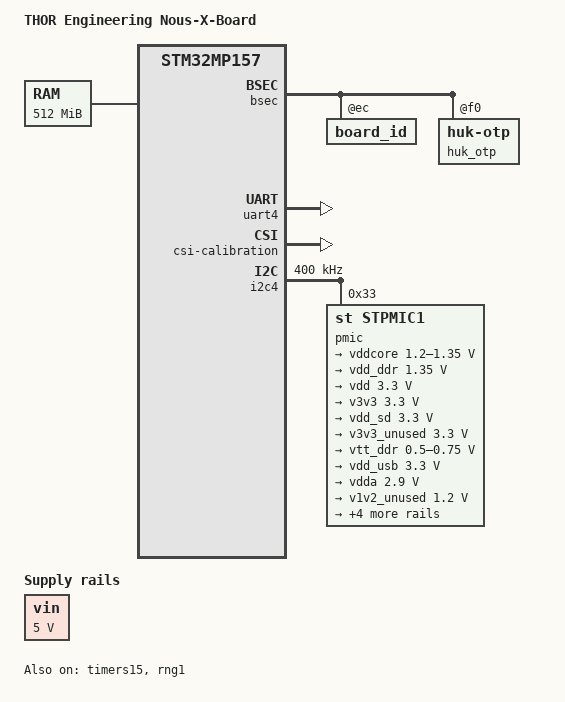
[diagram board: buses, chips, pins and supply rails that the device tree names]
// SPDX-License-Identifier: (GPL-2.0+ OR BSD-3-Clause)
/*
 * Copyright (C) THOR Engineering GmbH 2026
 *
 * Author: Roy Schneider <roy@thor.engineering> for THOR Engineering GmbH.
 *
 * Device Tree File for the THOR-E2 board for the OPTEE.
 */
 
/dts-v1/;

#include <dt-bindings/pinctrl/stm32-pinfunc.h>
#include <dt-bindings/clock/stm32mp1-clksrc.h>

#include "stm32mp157.dtsi"
#include "stm32mp15xa.dtsi"
#include "stm32mp15xxac-pinctrl.dtsi"

#include <dt-bindings/gpio/gpio.h>
#include <dt-bindings/power/stm32mp1-power.h>
#include <dt-bindings/mfd/st,stpmic1.h>
#include <dt-bindings/soc/stm32mp-provisioning.h>
#include <dt-bindings/tamper/st,stm32-tamp.h>

#include "stm32mp15-pinctrl.dtsi"

/* Board description */

/ {
	model = "THOR Engineering Nous-X-Board";
	compatible = "st,stm32mp157a-nous", "st,stm32mp157";

	aliases {
		serial0 = &uart4;
	};

	/* Standard serial console output. */

	chosen {
		stdout-path = "serial0:115200n8";
	};

	memory@c0000000 {
		device_type = "memory";
		reg = <0xc0000000 0x20000000>;
	};

	reserved-memory {
		#address-cells = <1>;
		#size-cells = <1>;
		ranges;

		mcusram1: mcuram1@10000000 {
			compatible = "shared-dma-pool";
			reg = <0x10000000 0x20000>;
			no-map;
		};

		mcusram2: mcuram2@10020000 {
			compatible = "shared-dma-pool";
			reg = <0x10020000 0x20000>;
			no-map;
		};

		mcusram3: mcuram3@10040000 {
			compatible = "shared-dma-pool";
			reg = <0x10040000 0x10000>;
			no-map;
		};

		retram: retram@38000000 {
			compatible = "shared-dma-pool";
			reg = <0x38000000 0x10000>;
			no-map;
		};

		gpu_reserved: gpu@d4000000 {
			reg = <0xd4000000 0x4000000>;
			no-map;
		};
	};

	shadow-prov {
		compatible = "st,provisioning";
		hw2_prov {
			nvmem-cells = <&hw2_otp>;
			st,shadow-value = <0x000001E0>;
			st,shadow-lock = <STICKY_LOCK_SR>;
		};
	};

	vin: vin {
		compatible = "regulator-fixed";
		regulator-name = "vin";
		regulator-min-microvolt = <5000000>;
		regulator-max-microvolt = <5000000>;
		regulator-always-on;
	};

	/* Support for SSM2518 audio codec. */

	sound {
		compatible = "audio-graph-card";
		label = "ssm2518-hifi";
		
		routing =
			"Playback", "OUTL",
			"Playback", "OUTR";

		dais = <&sai2a_port>;
		status = "disabled";
	};

}; /* root */

/* Boot and Security Configuration */

&bsec {
	board_id: board_id@ec {
		reg = <0xec 0x4>;
		st,non-secure-otp;
	};

	huk_otp: huk-otp@f0 {
		reg = <0xf0 0x10>;
	};
};

/* Pinout mapping */

&pinctrl {
	/* Pins for the Debug interface. */

	uart4_pins_mx_z: uart4-0 {
		pins1 {
			pinmux = <STM32_PINMUX_NSEC('C', 8, AF6)>; /* UART4_TX */
			bias-disable;
			drive-push-pull;
			slew-rate = <0>;
		};
		pins2 {
			pinmux = <STM32_PINMUX_NSEC('C', 11, AF8)>; /* UART4_RX */
			bias-disable;
		};
	};

	/* Pins for the i2C command interface of the audio codec. */
	
	i2c2_pins_mx_z: i2c2_mx-0 {
		pins {
			pinmux = <STM32_PINMUX_NSEC('F', 1, AF4)>, /* I2C2_SCL */
				 <STM32_PINMUX_NSEC('H', 5, AF4)>; /* I2C2_SDA */
			bias-disable;
			drive-open-drain;
			slew-rate = <0>;
		};
	};

	i2c2_sleep_pins_mx_z: i2c2_sleep_mx-0 {
		pins {
			pinmux = <STM32_PINMUX_NSEC('F', 1, ANALOG)>, /* I2C2_SCL */
				 <STM32_PINMUX_NSEC('H', 5, ANALOG)>; /* I2C2_SDA */
		};
	};

	/* Pins for the audio controller interface. */
	
	sai2a_pins_mx_z: sai2a-0 {
		pins {
			pinmux = <STM32_PINMUX_NSEC('D', 13, AF10)>, /* SAI2_SCK_A */
					 <STM32_PINMUX_NSEC('I', 4, AF10)>, /* SAI2_MCLK_A */
					 <STM32_PINMUX_NSEC('I', 6, AF10)>, /* SAI2_SD_A */
					 <STM32_PINMUX_NSEC('I', 7, AF10)>; /* SAI2_FS_A */
			slew-rate = <0>;
			drive-push-pull;
			bias-disable;
		};
	};

	sai2a_sleep_pins_mx_z: sai2a-sleep-0 {
		pins {
			pinmux = <STM32_PINMUX_NSEC('D', 13, ANALOG)>, /* SAI2_SCK_A */
					 <STM32_PINMUX_NSEC('I', 4, ANALOG)>, /* SAI2_MCLK_A */
					 <STM32_PINMUX_NSEC('I', 6, ANALOG)>, /* SAI2_SD_A */
					 <STM32_PINMUX_NSEC('I', 7, ANALOG)>; /* SAI2_FS_A */
		};
	};
};

/* UART for Debug */

&uart4 {
	pinctrl-names = "default";
	pinctrl-0 = <&uart4_pins_mx_z>;
	status = "okay";
};

/* Timer 1 and 5 */

&timers15 {
	status = "okay";

	counter {
		status = "okay";
	};
};

/* Cyclic Redundancy Check (CRC) unit */

&crc1 {
	status = "disabled";
};

/* Harware Hash unit */

&hash1 {
	status = "disabled";
};

/* Digital Temperature Sensor */

&dts {
	status = "disabled";
};

/* CPU core voltage */

&cpu0 {
	cpu-supply = <&vddcore>;
};

&cpu1 {
	cpu-supply = <&vddcore>;
};

/* The inter-processor communication controller (IPCC) is used to exchange data between two processors. */

&ipcc {
	status = "disabled";
};

/* Watchdog */

&iwdg1 {
	timeout-sec = <32>;
	status = "disabled";
};

/* Oscilator calibration. */

&osc_calibration {
	csi-calibration {
		status = "okay";
	};

	hsi-calibration {
		status = "okay";
	};
};

/* Power regulators */

&pwr_regulators {
	system_suspend_supported_soc_modes = <
		STM32_PM_CSLEEP_RUN
		STM32_PM_CSTOP_ALLOW_LP_STOP
		STM32_PM_CSTOP_ALLOW_STANDBY_DDR_SR
	>;
	system_off_soc_mode = <STM32_PM_CSTOP_ALLOW_STANDBY_DDR_OFF>;
	vdd-supply = <&vdd>;
	vdd_3v3_usbfs-supply = <&vdd_usb>;
};

/* Clock and Reset Generator */

&rcc {
	compatible = "st,stm32mp1-rcc-secure";
	
	st,hsi-cal;
	st,csi-cal;
	st,cal-sec = <60>;
	
	/* Clock Source Selection */
	
	st,clksrc = <
		CLK_MPU_PLL1P
		CLK_AXI_PLL2P
		CLK_MCU_PLL3P
		CLK_PLL12_HSE
		CLK_PLL3_HSE
		CLK_PLL4_HSE
		CLK_RTC_LSE
		CLK_MCO1_DISABLED
		CLK_MCO2_DISABLED
		CLK_CKPER_HSE
		CLK_FMC_ACLK
		CLK_QSPI_ACLK
		CLK_ETH_PLL4P
		CLK_SDMMC12_PLL4P
		CLK_DSI_DSIPLL
		CLK_STGEN_HSE
		CLK_USBPHY_HSE
		CLK_SPI2S1_PLL3Q
		CLK_SPI2S23_PLL3Q
		CLK_SPI45_HSI
		CLK_SPI6_HSI
		CLK_I2C46_HSI
		CLK_SDMMC3_PLL4P
		CLK_USBO_USBPHY
		CLK_ADC_CKPER
		CLK_CEC_LSE
		CLK_I2C12_HSI
		CLK_I2C35_HSI
		CLK_UART1_HSI
		CLK_UART24_HSI
		CLK_UART35_HSI
		CLK_UART6_HSI
		CLK_UART78_HSI
		CLK_SPDIF_PLL4P
		CLK_FDCAN_HSE
		CLK_SAI1_PLL3Q
		CLK_SAI2_PLL3Q
		CLK_SAI3_PLL3Q
		CLK_SAI4_PLL3Q
		CLK_RNG1_LSI
		CLK_RNG2_LSI
		CLK_LPTIM1_PCLK1
		CLK_LPTIM23_PCLK3
		CLK_LPTIM45_LSE
	>;

	st,clkdiv = <
		DIV(DIV_MPU, 1)
		DIV(DIV_AXI, 0)
		DIV(DIV_MCU, 0)
		DIV(DIV_APB1, 1)
		DIV(DIV_APB2, 1)
		DIV(DIV_APB3, 1)
		DIV(DIV_APB4, 1)
		DIV(DIV_APB5, 2)
		DIV(DIV_RTC, 23)
		DIV(DIV_MCO1, 0)
		DIV(DIV_MCO2, 0)
	>;

	st,pll_vco {
		pll2_vco_1066Mhz: pll2-vco-1066Mhz {
			src = <CLK_PLL12_HSE>;
			divmn = <2 65>;
			frac = <0x1400>;
		};

		pll3_vco_417Mhz: pll3-vco-417Mhz {
			src = <CLK_PLL3_HSE>;
			divmn = <1 33>;
			frac = <0x1a04>;
		};

		pll4_vco_594Mhz: pll4-vco-594Mhz {
			src = <CLK_PLL4_HSE>;
			divmn = <3 98>;
		};
	};

	/* VCO = 1066.0 MHz => P = 266 (AXI), Q = 533 (GPU), R = 533 (DDR) */
	pll2: st,pll@1 {
		compatible = "st,stm32mp1-pll";
		reg = <1>;

		st,pll = <&pll2_cfg1>;

		pll2_cfg1: pll2_cfg1 {
			st,pll_vco = <&pll2_vco_1066Mhz>;
			st,pll_div_pqr = <1 0 0>;
		};
	};

	/* VCO = 417.8 MHz => P = 209, Q = 24, R = 11 */
	pll3: st,pll@2 {
		compatible = "st,stm32mp1-pll";
		reg = <2>;

		st,pll = <&pll3_cfg1>;

		pll3_cfg1: pll3_cfg1 {
			st,pll_vco = <&pll3_vco_417Mhz>;
			st,pll_div_pqr = <1 16 36>;
		};
	};

	/* VCO = 594.0 MHz => P = 99, Q = 74, R = 74 */
	pll4: st,pll@3 {
		compatible = "st,stm32mp1-pll";
		reg = <3>;

		st,pll = <&pll4_cfg1>;

		pll4_cfg1: pll4_cfg1 {
			st,pll_vco = <&pll4_vco_594Mhz>;
			st,pll_div_pqr = <5 7 7>;
		};
	};
};

/* I2C interface for the power controller. */

&i2c4 {
	compatible = "st,stm32mp15-i2c-non-secure";
	pinctrl-names = "default";
	pinctrl-0 = <&i2c4_pins_a>;
	i2c-scl-rising-time-ns = <185>;
	i2c-scl-falling-time-ns = <20>;
	clock-frequency = <400000>;
	status = "okay";
	/* spare dmas for other usage */
	/delete-property/dmas;
	/delete-property/dma-names;

	/* Setting up the power controller. */

	pmic: stpmic@33 {
		compatible = "st,stpmic1";
		reg = <0x33>;
		status = "okay";

		regulators {
			compatible = "st,stpmic1-regulators";
			buck1-supply = <&vin>;
			buck2-supply = <&vin>;
			buck3-supply = <&vin>;
			buck4-supply = <&vin>;
			ldo1-supply = <&vin>;
			ldo2-supply = <&vin>;
			ldo3-supply = <&vdd_ddr>;
			ldo4-supply = <&vin>;
			ldo5-supply = <&vin>;
			ldo6-supply = <&vin>;
			vref_ddr-supply = <&vin>;
			boost-supply = <&vin>;
			pwr_sw1-supply = <&bst_out>;
			pwr_sw2-supply = <&vin>;

			vddcore: buck1 {
				regulator-name = "vddcore";
				regulator-min-microvolt = <1200000>;
				regulator-max-microvolt = <1350000>;
				regulator-always-on;
				regulator-initial-mode = <0>;
				regulator-over-current-protection;
			};

			vdd_ddr: buck2 {
				regulator-name = "vdd_ddr";
				regulator-min-microvolt = <1350000>;
				regulator-max-microvolt = <1350000>;
				regulator-always-on;
				regulator-initial-mode = <0>;
				regulator-over-current-protection;
			};

			vdd: buck3 {
				regulator-name = "vdd";
				regulator-min-microvolt = <3300000>;
				regulator-max-microvolt = <3300000>;
				regulator-always-on;
				st,mask-reset;
				regulator-initial-mode = <0>;
				regulator-over-current-protection;
			};

			v3v3: buck4 {
				regulator-name = "v3v3";
				regulator-min-microvolt = <3300000>;
				regulator-max-microvolt = <3300000>;
				regulator-always-on;
				regulator-over-current-protection;
				regulator-initial-mode = <0>;
			};

			vdd_sd: ldo1 {
				regulator-name = "vdd_sd";
				regulator-min-microvolt = <3300000>;
				regulator-max-microvolt = <3300000>;
				regulator-always-on;
				interrupts = <IT_CURLIM_LDO1 0>;
			};

			v3v3_unused: ldo2 {
				regulator-name = "v3v3_unused";
				regulator-min-microvolt = <3300000>;
				regulator-max-microvolt = <3300000>;
				regulator-always-on;
				interrupts = <IT_CURLIM_LDO2 0>;
			};

			vtt_ddr: ldo3 {
				regulator-name = "vtt_ddr";
				regulator-min-microvolt = <500000>;
				regulator-max-microvolt = <750000>;
				regulator-always-on;
				regulator-over-current-protection;
				st,regulator-sink-source;
			};

			vdd_usb: ldo4 {
				regulator-name = "vdd_usb";
				regulator-min-microvolt = <3300000>;
				regulator-max-microvolt = <3300000>;
				interrupts = <IT_CURLIM_LDO4 0>;
				regulator-always-on;
			};

			vdda: ldo5 {
				regulator-name = "vdda";
				regulator-min-microvolt = <2900000>;
				regulator-max-microvolt = <2900000>;
				interrupts = <IT_CURLIM_LDO5 0>;
				regulator-always-on;
				st,mask-reset;
			};

			v1v2_unused: ldo6 {
				regulator-name = "v1v2_unused";
				regulator-min-microvolt = <1200000>;
				regulator-max-microvolt = <1200000>;
				regulator-always-on;
				interrupts = <IT_CURLIM_LDO6 0>;
			};

			vref_ddr: vref_ddr {
				regulator-name = "vref_ddr";
				regulator-always-on;
				regulator-over-current-protection;
			};

			bst_out: boost {
				regulator-name = "bst_out";
				interrupts = <IT_OCP_BOOST 0>;
			};

			vbus_otg: pwr_sw1 {
				regulator-name = "vbus_otg";
				interrupts = <IT_OCP_OTG 0>;
			};

			vbus_sw: pwr_sw2 {
				regulator-name = "vbus_sw";
				interrupts = <IT_OCP_SWOUT 0>;
				regulator-active-discharge = <1>;
				regulator-always-on;
			};
		};

		onkey {
			compatible = "st,stpmic1-onkey";
			interrupts = <IT_PONKEY_F 0>, <IT_PONKEY_R 0>;
			interrupt-names = "onkey-falling", "onkey-rising";
			power-off-time-sec = <10>;
			status = "disabled";
		};

		watchdog {
			compatible = "st,stpmic1-wdt";
			status = "disabled";
		};
	};
};

/* Unlock units */

&etzpc {
	st,decprot = <

	/* Hardware Number Random Generator */

	DECPROT(STM32MP1_ETZPC_RNG1_ID, DECPROT_S_RW, DECPROT_UNLOCK)

	/* Hardware Hash */

	DECPROT(STM32MP1_ETZPC_HASH1_ID, DECPROT_NS_RW, DECPROT_UNLOCK)

	/* Analogue to Digital converter */

	DECPROT(STM32MP1_ETZPC_ADC_ID, DECPROT_NS_RW, DECPROT_UNLOCK)
	
	/* DMA 1 controller */
	
	DECPROT(STM32MP1_ETZPC_DMA1_ID, DECPROT_NS_RW, DECPROT_UNLOCK)
	
	/* DMA 2 controller - "Mcu Isolation" peripherals */
	
	DECPROT(STM32MP1_ETZPC_DMA2_ID, DECPROT_NS_RW, DECPROT_UNLOCK)

	/* DMA Multiplexer */
	
	DECPROT(STM32MP1_ETZPC_DMAMUX_ID, DECPROT_NS_RW, DECPROT_UNLOCK)
	
	/* FMC NAND Flash controller */
	
	DECPROT(STM32MP1_ETZPC_FMC_ID, DECPROT_NS_RW, DECPROT_UNLOCK)

	/* Ethernet controller */

	DECPROT(STM32MP1_ETZPC_ETH_ID, DECPROT_NS_RW, DECPROT_UNLOCK)
	
	/* CAN1/2 interface. */
	
	DECPROT(STM32MP1_ETZPC_TT_FDCAN_ID, DECPROT_NS_RW, DECPROT_UNLOCK)
	
	/* I2C interface of the touch controller (CTP). */
	
	DECPROT(STM32MP1_ETZPC_I2C1_ID, DECPROT_NS_RW, DECPROT_UNLOCK)
	
	/* I2C command interface of the audio codec. */
	
	DECPROT(STM32MP1_ETZPC_I2C2_ID, DECPROT_NS_RW, DECPROT_UNLOCK)

	/* I2C command interface of the power controller. */
	
	DECPROT(STM32MP1_ETZPC_I2C4_ID, DECPROT_NS_RW, DECPROT_UNLOCK)

	/* ADC controller. */
	
	DECPROT(STM32MP1_ETZPC_ADC_ID, DECPROT_NS_RW, DECPROT_UNLOCK)

	/* Single channel low-power timer unit */
	
	DECPROT(STM32MP1_ETZPC_LPTIM2_ID, DECPROT_NS_RW, DECPROT_UNLOCK)
	
	/* Audio controller for driving the audio codes via I2S */
	
	DECPROT(STM32MP1_ETZPC_SAI2_ID, DECPROT_NS_RW, DECPROT_UNLOCK)
	
	/* SPI used to communicate with the display controller. */
	
	DECPROT(STM32MP1_ETZPC_SPI5_ID, DECPROT_NS_RW, DECPROT_UNLOCK)
	
	/* UART for Debug */
	
	DECPROT(STM32MP1_ETZPC_UART4_ID, DECPROT_NS_RW, DECPROT_UNLOCK)
	
	/* UART for the DCP interface. */
	
	DECPROT(STM32MP1_ETZPC_UART5_ID, DECPROT_NS_RW, DECPROT_UNLOCK)
	
	/* USB OTG controller */
	
	DECPROT(STM32MP1_ETZPC_OTG_ID, DECPROT_NS_RW, DECPROT_UNLOCK)

	/* DDRRAM "NS_R S_W" peripherals */
	DECPROT(STM32MP1_ETZPC_DDRCTRL_ID, DECPROT_NS_R_S_W, DECPROT_LOCK)
	DECPROT(STM32MP1_ETZPC_DDRPHYC_ID, DECPROT_NS_R_S_W, DECPROT_LOCK)
	
	/* Reference clock used by the Arm® Cortex®-A7 generic timer for its counters, including the system tick generation. */
	
	DECPROT(STM32MP1_ETZPC_STGENC_ID, DECPROT_S_RW, DECPROT_UNLOCK)

	/* Internal Backup SRAM memory */
	
	DECPROT(STM32MP1_ETZPC_BKPSRAM_ID, DECPROT_S_RW, DECPROT_UNLOCK)
	
	/* Watchdog */
	
	/*DECPROT(STM32MP1_ETZPC_IWDG1_ID, DECPROT_S_RW, DECPROT_UNLOCK)*/
	>;
};

&mcusram1 {
	access-controllers-conf-default = <&etzpc DECPROT(STM32MP1_ETZPC_SRAM1_ID, DECPROT_MCU_ISOLATION, DECPROT_UNLOCK)>;
	access-controllers-conf-load = <&etzpc DECPROT(STM32MP1_ETZPC_SRAM1_ID, DECPROT_S_RW, DECPROT_UNLOCK)>;
};

&mcusram2 {
	access-controllers-conf-default = <&etzpc DECPROT(STM32MP1_ETZPC_SRAM2_ID, DECPROT_MCU_ISOLATION, DECPROT_UNLOCK)>;
	access-controllers-conf-load = <&etzpc DECPROT(STM32MP1_ETZPC_SRAM2_ID, DECPROT_S_RW, DECPROT_UNLOCK)>;
};

&mcusram3 {
	access-controllers-conf-default = <&etzpc DECPROT(STM32MP1_ETZPC_SRAM3_ID, DECPROT_NS_RW, DECPROT_UNLOCK)>;
	access-controllers-conf-load = <&etzpc DECPROT(STM32MP1_ETZPC_SRAM3_ID, DECPROT_S_RW, DECPROT_UNLOCK)>;
};

&retram {
	access-controllers-conf-default = <&etzpc DECPROT(STM32MP1_ETZPC_RETRAM_ID, DECPROT_MCU_ISOLATION, DECPROT_UNLOCK)>;
	access-controllers-conf-load = <&etzpc DECPROT(STM32MP1_ETZPC_RETRAM_ID, DECPROT_S_RW, DECPROT_UNLOCK)>;
};

/* Audio controller */

&sai2 {
	clock-names = "pclk", "x8k", "x11k";
	clocks = <&rcc SAI2>, <&rcc PLL3_Q>, <&rcc PLL3_R>;
	pinctrl-names = "default", "sleep";
	pinctrl-0 = <&sai2a_pins_mx_z>;
	pinctrl-1 = <&sai2a_sleep_pins_mx_z>;
	status = "disabled";
	
	sai2a: audio-controller@4400b004 {
		#clock-cells = <0>;
		dma-names = "tx";
		clocks = <&rcc SAI2_K>;
		clock-names = "sai_ck";
		status = "disabled";
		
		sai2a_port: port {
			sai2a_endpoint: endpoint {
				remote-endpoint = <&ssm2518_tx_endpoint>;
				format = "i2s";
				mclk-fs = <256>;
				frame-master;
				bitclock-master;
				//dai-tdm-slot-num = <2>;
				//dai-tdm-slot-width = <16>;
				//dai-tdm-slot-tx-mask = <1 1>;
				//dai-tdm-slot-rx-mask = <0 0>;
			};
		};
	};
};

/* I2C for sending commands to the audio codec. */

&i2c2 {	
	pinctrl-names = "default", "sleep";
	pinctrl-0 = <&i2c2_pins_mx_z>;
	pinctrl-1 = <&i2c2_sleep_pins_mx_z>;
	i2c-scl-rising-time-ns = <96>;
	i2c-scl-falling-time-ns = <3>;
	clock-frequency = <100000>;
	/delete-property/dmas;
	/delete-property/dma-names;
	status = "disabled";

	ssm2518: ssm2518@34 {
		compatible = "adi,ssm2518";
		reg = <0x34>;
		gpios = <&gpiog 8 0>;
		status = "disabled";

		#sound-dai-cells = <0>;
		
		ssm2518_port: port {
			ssm2518_tx_endpoint: endpoint {
				format = "i2s";
				mclk-fs = <256>;
			};
		};
	};
};

/* Random generator used for generating a stack canary value. */

&rng1{
	status = "okay";
};

